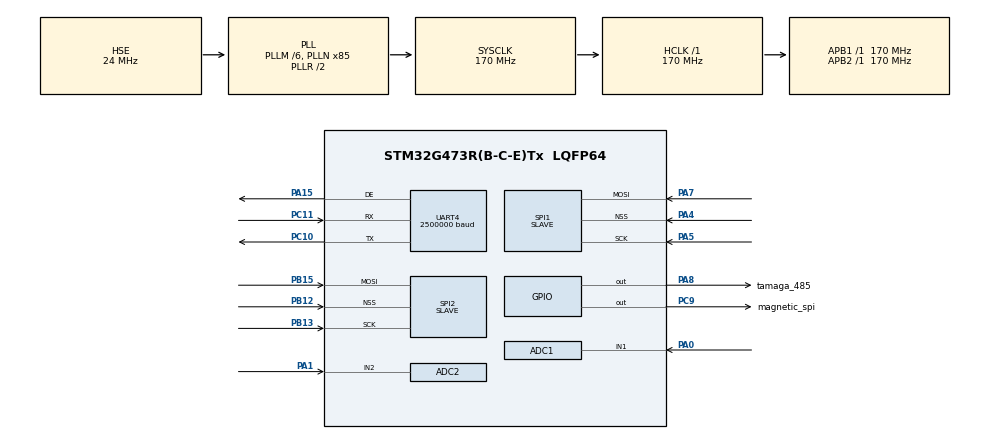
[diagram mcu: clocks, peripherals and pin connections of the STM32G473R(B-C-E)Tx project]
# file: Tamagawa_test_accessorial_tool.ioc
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ADC1.Channel-0\#ChannelRegularConversion=ADC_CHANNEL_1
ADC1.ClockPrescaler=ADC_CLOCK_ASYNC_DIV4
ADC1.DMAAccessModeView=ENABLE
ADC1.DMAContinuousRequests=ENABLE
ADC1.ExternalTrigConv=ADC_EXTERNALTRIG_T2_CC2
ADC1.ExternalTrigConvEdge=ADC_EXTERNALTRIGCONVEDGE_FALLING
ADC1.Mode=ADC_DUALMODE_REGSIMULT
ADC1.NbrOfConversionFlag=1
ADC1.OffsetNumber-0\#ChannelRegularConversion=ADC_OFFSET_NONE
ADC1.Rank-0\#ChannelRegularConversion=1
ADC1.SamplingTime-0\#ChannelRegularConversion=ADC_SAMPLETIME_12CYCLES_5
ADC1.TwoSamplingDelay=ADC_TWOSAMPLINGDELAY_5CYCLES
ADC1.master=1
ADC2.Channel-1\#ChannelRegularConversion=ADC_CHANNEL_2
ADC2.ClockPrescaler=ADC_CLOCK_ASYNC_DIV4
ADC2.DMAAccessModeView=ENABLE
ADC2.Mode=ADC_DUALMODE_REGSIMULT
ADC2.NbrOfConversionFlag=1
ADC2.OffsetNumber-1\#ChannelRegularConversion=ADC_OFFSET_NONE
ADC2.Rank-1\#ChannelRegularConversion=1
ADC2.SamplingTime-1\#ChannelRegularConversion=ADC_SAMPLETIME_12CYCLES_5
ADC2.TwoSamplingDelay=ADC_TWOSAMPLINGDELAY_5CYCLES
Dma.ADC1.2.Direction=DMA_PERIPH_TO_MEMORY
Dma.ADC1.2.EventEnable=DISABLE
Dma.ADC1.2.Instance=DMA1_Channel3
Dma.ADC1.2.MemDataAlignment=DMA_MDATAALIGN_WORD
Dma.ADC1.2.MemInc=DMA_MINC_ENABLE
Dma.ADC1.2.Mode=DMA_CIRCULAR
Dma.ADC1.2.PeriphDataAlignment=DMA_PDATAALIGN_WORD
Dma.ADC1.2.PeriphInc=DMA_PINC_DISABLE
Dma.ADC1.2.Polarity=HAL_DMAMUX_REQ_GEN_RISING
Dma.ADC1.2.Priority=DMA_PRIORITY_HIGH
Dma.ADC1.2.RequestNumber=1
Dma.ADC1.2.SignalID=NONE
Dma.ADC1.2.SyncEnable=DISABLE
Dma.ADC1.2.SyncPolarity=HAL_DMAMUX_SYNC_NO_EVENT
Dma.ADC1.2.SyncRequestNumber=1
Dma.ADC1.2.SyncSignalID=NONE
Dma.Request0=UART4_RX
Dma.Request1=UART4_TX
Dma.Request2=ADC1
Dma.Request3=SPI1_RX
Dma.Request4=SPI2_RX
Dma.SPI1_RX.3.Direction=DMA_PERIPH_TO_MEMORY
Dma.SPI1_RX.3.EventEnable=DISABLE
Dma.SPI1_RX.3.Instance=DMA1_Channel4
Dma.SPI1_RX.3.MemDataAlignment=DMA_MDATAALIGN_HALFWORD
Dma.SPI1_RX.3.MemInc=DMA_MINC_ENABLE
Dma.SPI1_RX.3.Mode=DMA_CIRCULAR
Dma.SPI1_RX.3.PeriphDataAlignment=DMA_PDATAALIGN_HALFWORD
Dma.SPI1_RX.3.PeriphInc=DMA_PINC_DISABLE
Dma.SPI1_RX.3.Polarity=HAL_DMAMUX_REQ_GEN_RISING
Dma.SPI1_RX.3.Priority=DMA_PRIORITY_LOW
Dma.SPI1_RX.3.RequestNumber=1
Dma.SPI1_RX.3.SignalID=NONE
Dma.SPI1_RX.3.SyncEnable=DISABLE
Dma.SPI1_RX.3.SyncPolarity=HAL_DMAMUX_SYNC_NO_EVENT
Dma.SPI1_RX.3.SyncRequestNumber=1
Dma.SPI1_RX.3.SyncSignalID=NONE
Dma.SPI2_RX.4.Direction=DMA_PERIPH_TO_MEMORY
Dma.SPI2_RX.4.EventEnable=DISABLE
Dma.SPI2_RX.4.Instance=DMA1_Channel5
Dma.SPI2_RX.4.MemDataAlignment=DMA_MDATAALIGN_HALFWORD
Dma.SPI2_RX.4.MemInc=DMA_MINC_ENABLE
Dma.SPI2_RX.4.Mode=DMA_CIRCULAR
Dma.SPI2_RX.4.PeriphDataAlignment=DMA_PDATAALIGN_HALFWORD
Dma.SPI2_RX.4.PeriphInc=DMA_PINC_DISABLE
Dma.SPI2_RX.4.Polarity=HAL_DMAMUX_REQ_GEN_RISING
Dma.SPI2_RX.4.Priority=DMA_PRIORITY_LOW
Dma.SPI2_RX.4.RequestNumber=1
Dma.SPI2_RX.4.SignalID=NONE
Dma.SPI2_RX.4.SyncEnable=DISABLE
Dma.SPI2_RX.4.SyncPolarity=HAL_DMAMUX_SYNC_NO_EVENT
Dma.SPI2_RX.4.SyncRequestNumber=1
Dma.SPI2_RX.4.SyncSignalID=NONE
Dma.UART4_RX.0.Direction=DMA_PERIPH_TO_MEMORY
Dma.UART4_RX.0.EventEnable=DISABLE
Dma.UART4_RX.0.Instance=DMA1_Channel1
Dma.UART4_RX.0.MemDataAlignment=DMA_MDATAALIGN_BYTE
Dma.UART4_RX.0.MemInc=DMA_MINC_ENABLE
Dma.UART4_RX.0.Mode=DMA_NORMAL
Dma.UART4_RX.0.PeriphDataAlignment=DMA_PDATAALIGN_BYTE
Dma.UART4_RX.0.PeriphInc=DMA_PINC_DISABLE
Dma.UART4_RX.0.Polarity=HAL_DMAMUX_REQ_GEN_RISING
Dma.UART4_RX.0.Priority=DMA_PRIORITY_LOW
Dma.UART4_RX.0.RequestNumber=1
Dma.UART4_RX.0.SignalID=NONE
Dma.UART4_RX.0.SyncEnable=DISABLE
Dma.UART4_RX.0.SyncPolarity=HAL_DMAMUX_SYNC_NO_EVENT
Dma.UART4_RX.0.SyncRequestNumber=1
Dma.UART4_RX.0.SyncSignalID=NONE
Dma.UART4_TX.1.Direction=DMA_MEMORY_TO_PERIPH
Dma.UART4_TX.1.EventEnable=DISABLE
Dma.UART4_TX.1.Instance=DMA1_Channel2
Dma.UART4_TX.1.MemDataAlignment=DMA_MDATAALIGN_BYTE
Dma.UART4_TX.1.MemInc=DMA_MINC_ENABLE
Dma.UART4_TX.1.Mode=DMA_NORMAL
Dma.UART4_TX.1.PeriphDataAlignment=DMA_PDATAALIGN_BYTE
Dma.UART4_TX.1.PeriphInc=DMA_PINC_DISABLE
Dma.UART4_TX.1.Polarity=HAL_DMAMUX_REQ_GEN_RISING
Dma.UART4_TX.1.Priority=DMA_PRIORITY_LOW
Dma.UART4_TX.1.RequestNumber=1
Dma.UART4_TX.1.SignalID=NONE
Dma.UART4_TX.1.SyncEnable=DISABLE
Dma.UART4_TX.1.SyncPolarity=HAL_DMAMUX_SYNC_NO_EVENT
Dma.UART4_TX.1.SyncRequestNumber=1
Dma.UART4_TX.1.SyncSignalID=NONE
Mcu.Family=STM32G4
Mcu.Name=STM32G473R(B-C-E)Tx
Mcu.Package=LQFP64
NVIC.DMA1_Channel3_IRQn=true\:0\:0\:true\:false\:true\:false\:true\:true
NVIC.DMA1_Channel4_IRQn=true\:0\:0\:true\:false\:true\:true\:true\:true
NVIC.PriorityGroup=NVIC_PRIORITYGROUP_4
NVIC.TIM1_UP_TIM16_IRQn=true\:0\:0\:false\:false\:true\:true\:true\:true
NVIC.UART4_IRQn=true\:0\:0\:false\:false\:true\:false\:false\:true
PA0.Mode=IN1-Single-Ended
PA0.Signal=ADC1_IN1
PA1.Mode=IN2-Single-Ended
PA1.Signal=ADC2_IN2
PA13.Mode=Serial_Wire
PA13.Signal=SYS_JTMS-SWDIO
PA14.Mode=Serial_Wire
PA14.Signal=SYS_JTCK-SWCLK
PA15.Mode=Hardware Flow Control (RS485)
PA15.Signal=UART4_DE
PA4.Mode=NSS_Signal_Hard_Input
PA4.Signal=SPI1_NSS
PA5.Mode=RX_Only_Simplex_Unidirect_Slave
PA5.Signal=SPI1_SCK
PA7.Mode=RX_Only_Simplex_Unidirect_Slave
PA7.Signal=SPI1_MOSI
PA8.GPIO_Label=tamaga_485
PA8.Signal=GPIO_Output
PB12.Mode=NSS_Signal_Hard_Input
PB12.Signal=SPI2_NSS
PB13.Mode=RX_Only_Simplex_Unidirect_Slave
PB13.Signal=SPI2_SCK
PB15.Mode=RX_Only_Simplex_Unidirect_Slave
PB15.Signal=SPI2_MOSI
PC10.Mode=Asynchronous
PC10.Signal=UART4_TX
PC11.Mode=Asynchronous
PC11.Signal=UART4_RX
PC9.GPIO_Label=magnetic_spi
PC9.Signal=GPIO_Output
PF0-OSC_IN.Mode=HSE-External-Oscillator
PF0-OSC_IN.Signal=RCC_OSC_IN
PF1-OSC_OUT.Mode=HSE-External-Oscillator
PF1-OSC_OUT.Signal=RCC_OSC_OUT
ProjectManager.HeapSize=0x200
ProjectManager.StackSize=0x400
ProjectManager.TargetToolchain=MDK-ARM V5.32
RCC.ADC12Freq_Value=170000000
RCC.ADC345Freq_Value=170000000
RCC.AHBFreq_Value=170000000
RCC.APB1Freq_Value=170000000
RCC.APB1TimFreq_Value=170000000
RCC.APB2Freq_Value=170000000
RCC.APB2TimFreq_Value=170000000
RCC.CortexFreq_Value=170000000
RCC.EXTERNAL_CLOCK_VALUE=12288000
RCC.HCLKFreq_Value=170000000
RCC.HSE_VALUE=24000000
RCC.HSI48_VALUE=48000000
RCC.HSI_VALUE=16000000
RCC.LSE_VALUE=32768
RCC.PLLM=RCC_PLLM_DIV6
RCC.PLLN=85
RCC.PLLSourceVirtual=RCC_PLLSOURCE_HSE
RCC.SYSCLKFreq_VALUE=170000000
RCC.SYSCLKSource=RCC_SYSCLKSOURCE_PLLCLK
RCC.USBFreq_Value=170000000
RCC.VCOOutputFreq_Value=340000000
SPI1.CLKPhase=SPI_PHASE_2EDGE
SPI1.CLKPolarity=SPI_POLARITY_HIGH
SPI1.DataSize=SPI_DATASIZE_16BIT
SPI1.Direction=SPI_DIRECTION_2LINES_RXONLY
SPI1.Mode=SPI_MODE_SLAVE
SPI1.VirtualNSS=VM_NSSHARD
SPI1.VirtualType=VM_SLAVE
SPI2.CLKPhase=SPI_PHASE_2EDGE
SPI2.CLKPolarity=SPI_POLARITY_HIGH
SPI2.DataSize=SPI_DATASIZE_16BIT
SPI2.Direction=SPI_DIRECTION_2LINES_RXONLY
SPI2.Mode=SPI_MODE_SLAVE
SPI2.VirtualNSS=VM_NSSHARD
SPI2.VirtualType=VM_SLAVE
TIM1.AutoReloadPreload=TIM_AUTORELOAD_PRELOAD_ENABLE
TIM1.CounterMode=TIM_COUNTERMODE_CENTERALIGNED1
TIM1.PeriodNoDither=42499
TIM1.Prescaler=0
TIM1.TIM_MasterOutputTrigger=TIM_TRGO_UPDATE
TIM1.TIM_MasterSlaveMode=TIM_MASTERSLAVEMODE_ENABLE
TIM2.AutoReloadPreload=TIM_AUTORELOAD_PRELOAD_ENABLE
TIM2.Channel-PWM\ Generation2\ No\ Output=TIM_CHANNEL_2
TIM2.ClockDivision=TIM_CLOCKDIVISION_DIV2
TIM2.PeriodNoDither=65535
TIM2.PulseNoDither_2=1
TIM2.TIM_MasterOutputTrigger=TIM_TRGO_UPDATE
UART4.BaudRate=2500000
VP_SYS_VS_DBSignals.Mode=DisableDeadBatterySignals
VP_TIM1_VS_ClockSourceINT.Mode=Internal
VP_TIM2_VS_ClockSourceINT.Mode=Internal
VP_TIM2_VS_ClockSourceITR.Mode=TriggerSource_ITR0
VP_TIM2_VS_ControllerModeReset.Mode=Reset Mode
VP_TIM2_VS_no_output2.Mode=PWM Generation2 No Output
board=custom

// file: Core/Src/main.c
/* USER CODE BEGIN Header */
/**
  ******************************************************************************
  * @file           : main.c
  * @brief          : Main program body
  ******************************************************************************
  * @attention
  *
  * Copyright (c) 2025 STMicroelectronics.
  * All rights reserved.
  *
  * This software is licensed under terms that can be found in the LICENSE file
  * in the root directory of this software component.
  * If no LICENSE file comes with this software, it is provided AS-IS.
  *
  ******************************************************************************
  */
/* USER CODE END Header */
#include "main.h"
#include "adc.h"
#include "dma.h"
#include "spi.h"
#include "tim.h"
#include "usart.h"
#include "gpio.h"

void SystemClock_Config(void);

/* USER CODE BEGIN 0 */
// 多摩川编码器原始数据接收数组
uint8_t tamaga_encoder_data[6] = {0};
// ADC采样值
__ALIGN_BEGIN uint16_t ADC_Value[14] __ALIGN_END;
// SPI采集磁编原始数据
uint16_t spi1_rx_buffer = 0, spi2_rx_buffer = 0;
// 磁编原始值
float main_magnetic_abs = 0.0f, sec_magnetic_abs = 0.0f;
// 磁编原始值，连续化多圈
float magnetic_serial_abs = 0.0f;
// 多摩川编码器原始值
uint32_t tamagawa_abs = 0;
// 多摩川编码器原始值，连续化多圈
float tamagawa_serial_abs = 0.0f;
// 多摩川编码器电角度，转子侧位置，输出轴位置数据，单位：度
float tamagawa_elec_angle = 0.0f, tamagawa_rotor_pos = 0.0f, tamagawa_output_pos = 0.0f;
// 正余弦角度，单位：rad
float sincos_angle = 0.0f, serial_angle = 0.0f;
// 正余弦电角度，转子侧位置，输出轴位置数据，单位：度
float sincos_elec_angle = 0.0f, sincos_rotor_pos = 0.0f, sincos_output_pos = 0.0f;
// 磁编电角度，转子侧位置，输出轴位置数据，单位：度
float magnetic_elec_angle = 0.0f, magnetic_rotor_pos = 0.0f, magnetic_output_pos = 0.0f;
// 差值
float tamagawa_sincos_diff = 0.0f, tamagawa_magnetic_diff = 0.0f, sincos_magnetic_diff = 0.0f;
/*********************** 以下需要根据电机实际情况配置 ***********************/
// 电机极对数
float motor_pole_pairs = 14.0f;
// 电机减速比
float motor_gear_ratio = 7.75f;
// 最大值宏定义在main.h
float s_gain_ = 2.0f / (float)(SIN_MAX_VALUE - SIN_MIN_VALUE);
float s_offset_ = (float)(SIN_MAX_VALUE + SIN_MIN_VALUE) / 2.0f;
float c_gain_ = 2.0f / (float)(COS_MAX_VALUE - COS_MIN_VALUE);
float c_offset_ = (float)(COS_MAX_VALUE + COS_MIN_VALUE) / 2.0f;
/* USER CODE END 0 */

int main(void)
{

  /* MCU Configuration--------------------------------------------------------*/

  /* Reset of all peripherals, Initializes the Flash interface and the Systick. */
  HAL_Init();

  /* Configure the system clock */
  SystemClock_Config();

  /* Initialize all configured peripherals */
  MX_GPIO_Init();
  MX_DMA_Init();
  MX_UART4_Init();
  MX_ADC1_Init();
  MX_ADC2_Init();
  MX_TIM1_Init();
  MX_TIM2_Init();
  MX_SPI1_Init();
  MX_SPI2_Init();
  /* USER CODE BEGIN 2 */
  // 启动串口DMA中断接收多摩川编码器
  HAL_RS485Ex_Init(&huart4, UART_DE_POLARITY_HIGH, 0, 0);
  HAL_UART_Receive_DMA(&huart4, tamaga_encoder_data, sizeof(tamaga_encoder_data));
  __HAL_UART_ENABLE_IT(&huart4, UART_IT_IDLE);

  HAL_SPI_Receive_DMA(&hspi1, (uint8_t*)&spi1_rx_buffer, 1);
  HAL_SPI_Receive_DMA(&hspi2, (uint8_t*)&spi2_rx_buffer, 1);

  // 多摩川编码器设零
  for (uint8_t i = 0; i < 15; i++) {
     HAL_UART_Transmit_DMA(&huart4, (uint8_t[]){0xC2}, 1);
     HAL_Delay(1);
  }

  // 多通道同步采集线性霍尔数据
  HAL_ADCEx_Calibration_Start(&hadc1, ADC_SINGLE_ENDED);
  HAL_ADCEx_Calibration_Start(&hadc2, ADC_SINGLE_ENDED);
  HAL_ADCEx_MultiModeStart_DMA(&hadc1, (uint32_t*)ADC_Value, 1);

  // TIM1开启更新中断发送编码器请求并重置TIM2计数
  HAL_TIM_Base_Start_IT(&htim1);
  // TIM2触发ADC双通道采样
  HAL_TIM_PWM_Start(&htim2,TIM_CHANNEL_2);
  /* USER CODE END 2 */

  /* Infinite loop */
  while (1)
  {

  }
}

void SystemClock_Config(void)
{
  RCC_OscInitTypeDef RCC_OscInitStruct = {0};
  RCC_ClkInitTypeDef RCC_ClkInitStruct = {0};

  /** Configure the main internal regulator output voltage
  */
  HAL_PWREx_ControlVoltageScaling(PWR_REGULATOR_VOLTAGE_SCALE1_BOOST);

  /** Initializes the RCC Oscillators according to the specified parameters
  * in the RCC_OscInitTypeDef structure.
  */
  RCC_OscInitStruct.OscillatorType = RCC_OSCILLATORTYPE_HSE;
  RCC_OscInitStruct.HSEState = RCC_HSE_ON;
  RCC_OscInitStruct.PLL.PLLState = RCC_PLL_ON;
  RCC_OscInitStruct.PLL.PLLSource = RCC_PLLSOURCE_HSE;
  RCC_OscInitStruct.PLL.PLLM = RCC_PLLM_DIV6;
  RCC_OscInitStruct.PLL.PLLN = 85;
  RCC_OscInitStruct.PLL.PLLP = RCC_PLLP_DIV2;
  RCC_OscInitStruct.PLL.PLLQ = RCC_PLLQ_DIV2;
  RCC_OscInitStruct.PLL.PLLR = RCC_PLLR_DIV2;
  if (HAL_RCC_OscConfig(&RCC_OscInitStruct) != HAL_OK)
  {
    Error_Handler();
  }

  /** Initializes the CPU, AHB and APB buses clocks
  */
  RCC_ClkInitStruct.ClockType = RCC_CLOCKTYPE_HCLK|RCC_CLOCKTYPE_SYSCLK
                              |RCC_CLOCKTYPE_PCLK1|RCC_CLOCKTYPE_PCLK2;
  RCC_ClkInitStruct.SYSCLKSource = RCC_SYSCLKSOURCE_PLLCLK;
  RCC_ClkInitStruct.AHBCLKDivider = RCC_SYSCLK_DIV1;
  RCC_ClkInitStruct.APB1CLKDivider = RCC_HCLK_DIV1;
  RCC_ClkInitStruct.APB2CLKDivider = RCC_HCLK_DIV1;

  if (HAL_RCC_ClockConfig(&RCC_ClkInitStruct, FLASH_LATENCY_4) != HAL_OK)
  {
    Error_Handler();
  }
}

void Error_Handler(void)
{
  __disable_irq();
  while (1)
  {
  }
}
